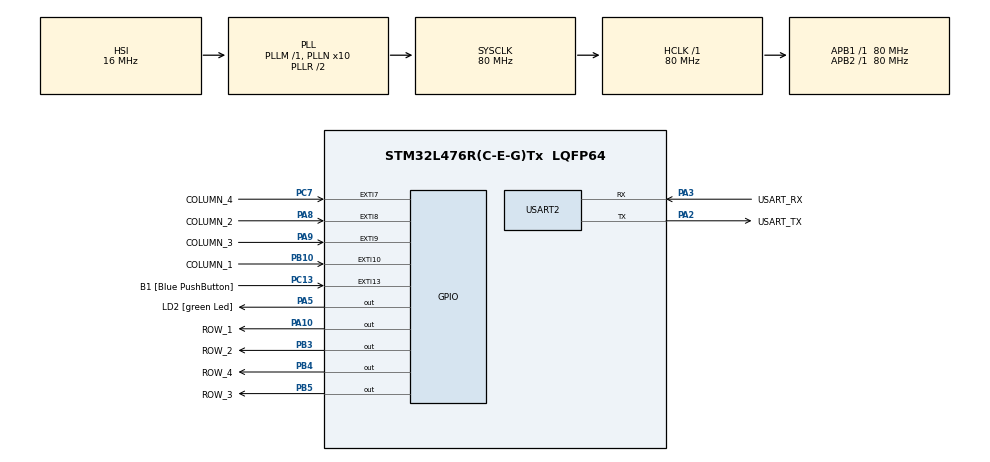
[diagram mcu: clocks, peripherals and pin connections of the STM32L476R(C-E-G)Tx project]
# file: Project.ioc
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Mcu.Family=STM32L4
Mcu.Name=STM32L476R(C-E-G)Tx
Mcu.Package=LQFP64
NVIC.EXTI15_10_IRQn=true\:1\:0\:true\:false\:true\:true\:true\:true
NVIC.EXTI9_5_IRQn=true\:1\:0\:true\:false\:true\:true\:true\:true
NVIC.PriorityGroup=NVIC_PRIORITYGROUP_4
NVIC.USART2_IRQn=true\:0\:0\:false\:false\:true\:true\:true\:true
PA10.GPIO_Label=ROW_1
PA10.GPIO_ModeDefaultOutputPP=GPIO_MODE_OUTPUT_OD
PA10.GPIO_PuPd=GPIO_NOPULL
PA10.GPIO_Speed=GPIO_SPEED_FREQ_VERY_HIGH
PA10.PinState=GPIO_PIN_RESET
PA10.Signal=GPIO_Output
PA13\ (JTMS-SWDIO).GPIO_Label=TMS
PA13\ (JTMS-SWDIO).Mode=Serial_Wire
PA13\ (JTMS-SWDIO).Signal=SYS_JTMS-SWDIO
PA14\ (JTCK-SWCLK).GPIO_Label=TCK
PA14\ (JTCK-SWCLK).Mode=Serial_Wire
PA14\ (JTCK-SWCLK).Signal=SYS_JTCK-SWCLK
PA2.GPIO_Label=USART_TX
PA2.GPIO_Mode=GPIO_MODE_AF_PP
PA2.GPIO_PuPd=GPIO_NOPULL
PA2.GPIO_Speed=GPIO_SPEED_FREQ_VERY_HIGH
PA2.Mode=Asynchronous
PA2.Signal=USART2_TX
PA3.GPIO_Label=USART_RX
PA3.GPIO_Mode=GPIO_MODE_AF_PP
PA3.GPIO_PuPd=GPIO_NOPULL
PA3.GPIO_Speed=GPIO_SPEED_FREQ_VERY_HIGH
PA3.Mode=Asynchronous
PA3.Signal=USART2_RX
PA5.GPIO_Label=LD2 [green Led]
PA5.GPIO_ModeDefaultOutputPP=GPIO_MODE_OUTPUT_PP
PA5.GPIO_PuPd=GPIO_NOPULL
PA5.GPIO_Speed=GPIO_SPEED_FREQ_LOW
PA5.Signal=GPIO_Output
PA8.GPIO_Label=COLUMN_2
PA8.GPIO_ModeDefaultEXTI=GPIO_MODE_IT_FALLING
PA8.GPIO_PuPd=GPIO_PULLUP
PA8.Signal=GPXTI8
PA9.GPIO_Label=COLUMN_3
PA9.GPIO_ModeDefaultEXTI=GPIO_MODE_IT_FALLING
PA9.GPIO_PuPd=GPIO_PULLUP
PA9.Signal=GPXTI9
PB10.GPIO_Label=COLUMN_1
PB10.GPIO_ModeDefaultEXTI=GPIO_MODE_IT_FALLING
PB10.GPIO_PuPd=GPIO_PULLUP
PB10.Signal=GPXTI10
PB3\ (JTDO-TRACESWO).GPIO_Label=ROW_2
PB3\ (JTDO-TRACESWO).GPIO_ModeDefaultOutputPP=GPIO_MODE_OUTPUT_OD
PB3\ (JTDO-TRACESWO).GPIO_PuPd=GPIO_NOPULL
PB3\ (JTDO-TRACESWO).GPIO_Speed=GPIO_SPEED_FREQ_VERY_HIGH
PB3\ (JTDO-TRACESWO).PinState=GPIO_PIN_RESET
PB3\ (JTDO-TRACESWO).Signal=GPIO_Output
PB4\ (NJTRST).GPIO_Label=ROW_4
PB4\ (NJTRST).GPIO_ModeDefaultOutputPP=GPIO_MODE_OUTPUT_OD
PB4\ (NJTRST).GPIO_PuPd=GPIO_NOPULL
PB4\ (NJTRST).GPIO_Speed=GPIO_SPEED_FREQ_VERY_HIGH
PB4\ (NJTRST).PinState=GPIO_PIN_RESET
PB4\ (NJTRST).Signal=GPIO_Output
PB5.GPIO_Label=ROW_3
PB5.GPIO_ModeDefaultOutputPP=GPIO_MODE_OUTPUT_OD
PB5.GPIO_PuPd=GPIO_NOPULL
PB5.GPIO_Speed=GPIO_SPEED_FREQ_VERY_HIGH
PB5.PinState=GPIO_PIN_RESET
PB5.Signal=GPIO_Output
PC13.GPIO_Label=B1 [Blue PushButton]
PC13.GPIO_ModeDefaultEXTI=GPIO_MODE_IT_FALLING
PC13.GPIO_PuPd=GPIO_NOPULL
PC13.Signal=GPXTI13
PC14-OSC32_IN\ (PC14).Mode=LSE-External-Oscillator
PC14-OSC32_IN\ (PC14).Signal=RCC_OSC32_IN
PC15-OSC32_OUT\ (PC15).Mode=LSE-External-Oscillator
PC15-OSC32_OUT\ (PC15).Signal=RCC_OSC32_OUT
PC7.GPIO_Label=COLUMN_4
PC7.GPIO_ModeDefaultEXTI=GPIO_MODE_IT_FALLING
PC7.GPIO_PuPd=GPIO_PULLUP
PC7.Signal=GPXTI7
PH0-OSC_IN\ (PH0).Signal=RCC_OSC_IN
PH1-OSC_OUT\ (PH1).Signal=RCC_OSC_OUT
ProjectManager.HeapSize=0x200
ProjectManager.StackSize=0x400
ProjectManager.TargetToolchain=CMake
RCC.ADCFreq_Value=64000000
RCC.AHBFreq_Value=80000000
RCC.APB1Freq_Value=80000000
RCC.APB1TimFreq_Value=80000000
RCC.APB2Freq_Value=80000000
RCC.APB2TimFreq_Value=80000000
RCC.CortexFreq_Value=80000000
RCC.HCLKFreq_Value=80000000
RCC.HSE_VALUE=8000000
RCC.HSI_VALUE=16000000
RCC.MSI_VALUE=4000000
RCC.PLLN=10
RCC.PLLSourceVirtual=RCC_PLLSOURCE_HSI
RCC.PREFETCH_ENABLE=1
RCC.SYSCLKFreq_VALUE=80000000
RCC.SYSCLKSource=RCC_SYSCLKSOURCE_PLLCLK
RCC.USBFreq_Value=64000000
RCC.VCOOutputFreq_Value=160000000
USART2.VirtualMode-Asynchronous=VM_ASYNC
board=NUCLEO-L476RG

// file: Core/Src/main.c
/* USER CODE BEGIN Header */
/**
  ******************************************************************************
  * @file           : main.c
  * @brief          : Main program body
  ******************************************************************************
  * @attention
  *
  * Copyright (c) 2025 STMicroelectronics.
  * All rights reserved.
  *
  * This software is licensed under terms that can be found in the LICENSE file
  * in the root directory of this software component.
  * If no LICENSE file comes with this software, it is provided AS-IS.
  *
  ******************************************************************************
  */
/* USER CODE END Header */
#include "main.h"

UART_HandleTypeDef huart2;

void SystemClock_Config(void);
static void MX_GPIO_Init(void);
static void MX_USART2_UART_Init(void);

/* USER CODE BEGIN 0 */

void HAL_GPIO_EXTI_Callback(uint16_t GPIO_Pin)
{
  static uint32_t last_interrupt_time = 0;
  if (HAL_GetTick() - last_interrupt_time < 100) {
    return;
  }
  last_interrupt_time = HAL_GetTick();
  switch (GPIO_Pin)
  {
    case COLUMN_1_Pin:
      if (HAL_GPIO_ReadPin(COLUMN_1_GPIO_Port, COLUMN_1_Pin) == GPIO_PIN_SET) {
        HAL_UART_Transmit(&huart2, (uint8_t *)"E", 1, 10);
        return; // Error si el boton no esta presionado, no procesar
      }
      HAL_GPIO_WritePin(ROW_1_GPIO_Port, ROW_1_Pin, GPIO_PIN_SET);
      HAL_Delay(2);
      if (HAL_GPIO_ReadPin(COLUMN_1_GPIO_Port, COLUMN_1_Pin) == GPIO_PIN_SET) {
        HAL_UART_Transmit(&huart2, (uint8_t *)"1", 1, 10); // Columna 1, Fila 1
        break;
      }
      HAL_GPIO_WritePin(ROW_2_GPIO_Port, ROW_2_Pin, GPIO_PIN_SET);
      HAL_Delay(2);
      if (HAL_GPIO_ReadPin(COLUMN_1_GPIO_Port, COLUMN_1_Pin) == GPIO_PIN_SET) {
        HAL_UART_Transmit(&huart2, (uint8_t *)"4", 1, 10); // Columna 1, Fila 2
        break;
      }
      HAL_GPIO_WritePin(ROW_3_GPIO_Port, ROW_3_Pin, GPIO_PIN_SET);
      HAL_Delay(2);
      if (HAL_GPIO_ReadPin(COLUMN_1_GPIO_Port, COLUMN_1_Pin) == GPIO_PIN_SET) {
        HAL_UART_Transmit(&huart2, (uint8_t *)"7", 1, 10); // Columna 1, Fila 3
        break;
      }
      HAL_GPIO_WritePin(ROW_4_GPIO_Port, ROW_4_Pin, GPIO_PIN_SET);
      HAL_Delay(2);
      if (HAL_GPIO_ReadPin(COLUMN_1_GPIO_Port, COLUMN_1_Pin) == GPIO_PIN_SET) {
        HAL_UART_Transmit(&huart2, (uint8_t *)"*", 1, 10); // Columna 1, Fila 4
        break;
      }
      break;

    default:
      break;
  }
  HAL_GPIO_WritePin(ROW_1_GPIO_Port, ROW_1_Pin, GPIO_PIN_RESET);
  HAL_GPIO_WritePin(ROW_2_GPIO_Port, ROW_2_Pin, GPIO_PIN_RESET);
  HAL_GPIO_WritePin(ROW_3_GPIO_Port, ROW_3_Pin, GPIO_PIN_RESET);
  HAL_GPIO_WritePin(ROW_4_GPIO_Port, ROW_4_Pin, GPIO_PIN_RESET);
}
/* USER CODE END 0 */

int main(void)
{

  /* MCU Configuration--------------------------------------------------------*/

  /* Reset of all peripherals, Initializes the Flash interface and the Systick. */
  HAL_Init();

  /* Configure the system clock */
  SystemClock_Config();

  /* Initialize all configured peripherals */
  MX_GPIO_Init();
  MX_USART2_UART_Init();

  /* Infinite loop */
  while (1)
  {

  }
}

void SystemClock_Config(void)
{
  RCC_OscInitTypeDef RCC_OscInitStruct = {0};
  RCC_ClkInitTypeDef RCC_ClkInitStruct = {0};

  /** Configure the main internal regulator output voltage
  */
  if (HAL_PWREx_ControlVoltageScaling(PWR_REGULATOR_VOLTAGE_SCALE1) != HAL_OK)
  {
    Error_Handler();
  }

  /** Initializes the RCC Oscillators according to the specified parameters
  * in the RCC_OscInitTypeDef structure.
  */
  RCC_OscInitStruct.OscillatorType = RCC_OSCILLATORTYPE_HSI;
  RCC_OscInitStruct.HSIState = RCC_HSI_ON;
  RCC_OscInitStruct.HSICalibrationValue = RCC_HSICALIBRATION_DEFAULT;
  RCC_OscInitStruct.PLL.PLLState = RCC_PLL_ON;
  RCC_OscInitStruct.PLL.PLLSource = RCC_PLLSOURCE_HSI;
  RCC_OscInitStruct.PLL.PLLM = 1;
  RCC_OscInitStruct.PLL.PLLN = 10;
  RCC_OscInitStruct.PLL.PLLP = RCC_PLLP_DIV7;
  RCC_OscInitStruct.PLL.PLLQ = RCC_PLLQ_DIV2;
  RCC_OscInitStruct.PLL.PLLR = RCC_PLLR_DIV2;
  if (HAL_RCC_OscConfig(&RCC_OscInitStruct) != HAL_OK)
  {
    Error_Handler();
  }

  /** Initializes the CPU, AHB and APB buses clocks
  */
  RCC_ClkInitStruct.ClockType = RCC_CLOCKTYPE_HCLK|RCC_CLOCKTYPE_SYSCLK
                              |RCC_CLOCKTYPE_PCLK1|RCC_CLOCKTYPE_PCLK2;
  RCC_ClkInitStruct.SYSCLKSource = RCC_SYSCLKSOURCE_PLLCLK;
  RCC_ClkInitStruct.AHBCLKDivider = RCC_SYSCLK_DIV1;
  RCC_ClkInitStruct.APB1CLKDivider = RCC_HCLK_DIV1;
  RCC_ClkInitStruct.APB2CLKDivider = RCC_HCLK_DIV1;

  if (HAL_RCC_ClockConfig(&RCC_ClkInitStruct, FLASH_LATENCY_4) != HAL_OK)
  {
    Error_Handler();
  }
}

static void MX_USART2_UART_Init(void)
{

  huart2.Instance = USART2;
  huart2.Init.BaudRate = 115200;
  huart2.Init.WordLength = UART_WORDLENGTH_8B;
  huart2.Init.StopBits = UART_STOPBITS_1;
  huart2.Init.Parity = UART_PARITY_NONE;
  huart2.Init.Mode = UART_MODE_TX_RX;
  huart2.Init.HwFlowCtl = UART_HWCONTROL_NONE;
  huart2.Init.OverSampling = UART_OVERSAMPLING_16;
  huart2.Init.OneBitSampling = UART_ONE_BIT_SAMPLE_DISABLE;
  huart2.AdvancedInit.AdvFeatureInit = UART_ADVFEATURE_NO_INIT;
  if (HAL_UART_Init(&huart2) != HAL_OK)
  {
    Error_Handler();
  }

}

static void MX_GPIO_Init(void)
{
  GPIO_InitTypeDef GPIO_InitStruct = {0};

  /* GPIO Ports Clock Enable */
  __HAL_RCC_GPIOC_CLK_ENABLE();
  __HAL_RCC_GPIOH_CLK_ENABLE();
  __HAL_RCC_GPIOA_CLK_ENABLE();
  __HAL_RCC_GPIOB_CLK_ENABLE();

  /*Configure GPIO pin Output Level */
  HAL_GPIO_WritePin(GPIOA, LD2_Pin|ROW_1_Pin, GPIO_PIN_RESET);

  /*Configure GPIO pin Output Level */
  HAL_GPIO_WritePin(GPIOB, ROW_2_Pin|ROW_4_Pin|ROW_3_Pin, GPIO_PIN_RESET);

  /*Configure GPIO pin : B1_Pin */
  GPIO_InitStruct.Pin = B1_Pin;
  GPIO_InitStruct.Mode = GPIO_MODE_IT_FALLING;
  GPIO_InitStruct.Pull = GPIO_NOPULL;
  HAL_GPIO_Init(B1_GPIO_Port, &GPIO_InitStruct);

  /*Configure GPIO pin : LD2_Pin */
  GPIO_InitStruct.Pin = LD2_Pin;
  GPIO_InitStruct.Mode = GPIO_MODE_OUTPUT_PP;
  GPIO_InitStruct.Pull = GPIO_NOPULL;
  GPIO_InitStruct.Speed = GPIO_SPEED_FREQ_LOW;
  HAL_GPIO_Init(LD2_GPIO_Port, &GPIO_InitStruct);

  /*Configure GPIO pin : COLUMN_1_Pin */
  GPIO_InitStruct.Pin = COLUMN_1_Pin;
  GPIO_InitStruct.Mode = GPIO_MODE_IT_FALLING;
  GPIO_InitStruct.Pull = GPIO_PULLUP;
  HAL_GPIO_Init(COLUMN_1_GPIO_Port, &GPIO_InitStruct);

  /*Configure GPIO pin : COLUMN_4_Pin */
  GPIO_InitStruct.Pin = COLUMN_4_Pin;
  GPIO_InitStruct.Mode = GPIO_MODE_IT_FALLING;
  GPIO_InitStruct.Pull = GPIO_PULLUP;
  HAL_GPIO_Init(COLUMN_4_GPIO_Port, &GPIO_InitStruct);

  /*Configure GPIO pins : COLUMN_2_Pin COLUMN_3_Pin */
  GPIO_InitStruct.Pin = COLUMN_2_Pin|COLUMN_3_Pin;
  GPIO_InitStruct.Mode = GPIO_MODE_IT_FALLING;
  GPIO_InitStruct.Pull = GPIO_PULLUP;
  HAL_GPIO_Init(GPIOA, &GPIO_InitStruct);

  /*Configure GPIO pin : ROW_1_Pin */
  GPIO_InitStruct.Pin = ROW_1_Pin;
  GPIO_InitStruct.Mode = GPIO_MODE_OUTPUT_OD;
  GPIO_InitStruct.Pull = GPIO_NOPULL;
  GPIO_InitStruct.Speed = GPIO_SPEED_FREQ_VERY_HIGH;
  HAL_GPIO_Init(ROW_1_GPIO_Port, &GPIO_InitStruct);

  /*Configure GPIO pins : ROW_2_Pin ROW_4_Pin ROW_3_Pin */
  GPIO_InitStruct.Pin = ROW_2_Pin|ROW_4_Pin|ROW_3_Pin;
  GPIO_InitStruct.Mode = GPIO_MODE_OUTPUT_OD;
  GPIO_InitStruct.Pull = GPIO_NOPULL;
  GPIO_InitStruct.Speed = GPIO_SPEED_FREQ_VERY_HIGH;
  HAL_GPIO_Init(GPIOB, &GPIO_InitStruct);

  /* EXTI interrupt init*/
  HAL_NVIC_SetPriority(EXTI9_5_IRQn, 1, 0);
  HAL_NVIC_EnableIRQ(EXTI9_5_IRQn);

  HAL_NVIC_SetPriority(EXTI15_10_IRQn, 1, 0);
  HAL_NVIC_EnableIRQ(EXTI15_10_IRQn);

}

void Error_Handler(void)
{
  __disable_irq();
  while (1)
  {
  }
}
